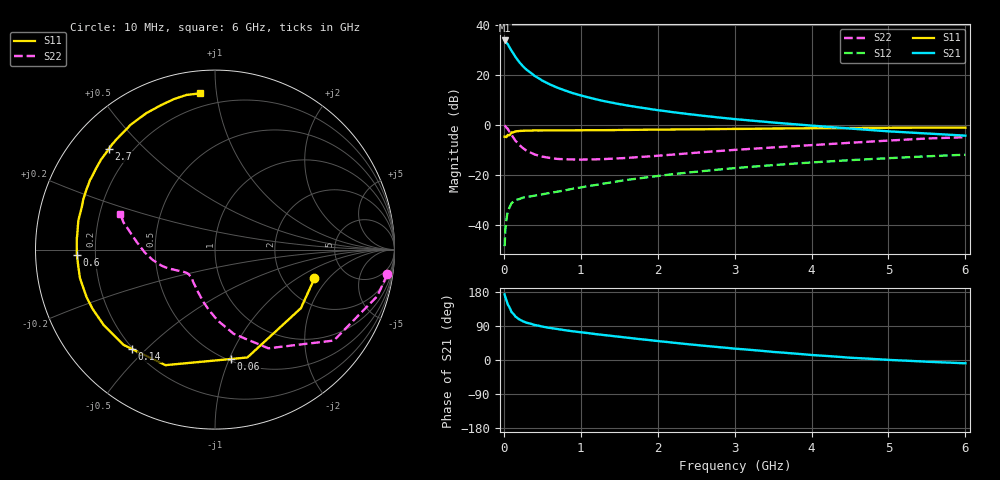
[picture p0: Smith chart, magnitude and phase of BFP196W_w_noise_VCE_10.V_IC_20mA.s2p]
! Infineon Technologies  Discrete & RF Semiconductors
! BFP196W
! VCE =  10. V,  IC =  20 mA
! Common Emitter S-Parameters:  Jan 2017
# GHz  S  MA  R  50
!  f  S11  S21  S12  S22
! GHz  MAG  ANG  MAG  ANG  MAG  ANG  MAG  ANG
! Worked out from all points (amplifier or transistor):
!   77 points, 10 MHz to 6 GHz, reference 50 ohm
!   highest |S21| = 33.8 dB at 10 MHz (marker M1)
!   |S21| within 3 dB of that: start of sweep to 78.49 MHz
!   unconditionally stable (mu >= 1): 1.041 GHz to 3.18 GHz
!   at 130 MHz: K = 0.23, MSG = 29.4 dB, |S12| = -30.7 dB
!   at 2.2 GHz: K = 1.06, MAG = 10.9 dB, |S12| = -19.8 dB
!   at 6 GHz: K = 0.89, MSG = 3.8 dB, |S12| = -12.0 dB
!   lowest NFmin = 1.02 dB at 450 MHz
!   S11 on the Smith chart (normalised r, x): 10 MHz: 2.97, -1.43; 60 MHz: 0.52, -1.01; 140 MHz: 0.20, -0.45; 600 MHz: 0.13, -0.02; 2.7 GHz: 0.12, +0.39; 6 GHz: 0.12, +0.90
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0.01  0.5769 -16.2  48.72 173.2  0.0037 77.5  0.9697 -8.2
0.02  0.5793 -34.3  47.38 165.4  0.0081 78.0  0.9408 -16.0
0.05  0.6275 -73.3  41.23 147.0  0.0181 60.2  0.8339 -37.4
0.06  0.6161 -81.7  38.73 143.8  0.0197 56.2  0.7829 -41.2
0.1  0.7004 -113.2  30.39 126.4  0.0269 45.3  0.6252 -61.6
0.14  0.7215 -129.9  24.29 117.8  0.0301 39.6  0.5066 -73.5
0.15  0.7359 -133.8  22.87 114.9  0.0309 38.4  0.4814 -77.4
0.2  0.7493 -145.8  18 107.3  0.0324 34.9  0.3959 -87.8
0.25  0.7577 -154.1  14.76 102.0  0.0348 33.5  0.3382 -95.8
0.3  0.763 -159.8  12.46 98.2  0.0357 32.5  0.2995 -102.3
0.4  0.769 -168.0  9.521 92.4  0.038 34.8  0.2542 -111.9
0.5  0.7675 -173.4  7.652 88.2  0.0404 37.4  0.2298 -119.0
0.6  0.7698 -177.6  6.407 84.6  0.0432 39.2  0.2162 -124.5
0.8  0.7722 175.7  4.821 78.5  0.0487 44.4  0.2034 -131.4
1.1  0.7784 167.9  3.521 70.8  0.0593 48.9  0.2017 -137.8
1.5  0.7855 159.2  2.591 61.3  0.0744 52.0  0.2127 -144.1
2.1  0.7996 147.1  1.872 48.0  0.0982 53.0  0.2458 -152.2
2.7  0.8152 136.5  1.449 35.8  0.1226 51.2  0.2905 -159.9
3.1  0.826 130.0  1.258 28.5  0.1391 49.2  0.3208 -165.2
4.1  0.8519 115.4  0.936 11.9  0.1794 43.1  0.3991 -179.2
5.1  0.8701 104.2  0.723 -0.6  0.2176 35.9  0.4913 167.4
6  0.8744 95.5  0.604 -8.8  0.2514 29.0  0.5634 159.6
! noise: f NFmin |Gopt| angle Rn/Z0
0.45  1.02  0.4  170  0.05
0.9  1.2  0.51  178  0.05
1.9  2.11  0.69  -155  0.11
2.4  2.55  0.74  -147  0.2
